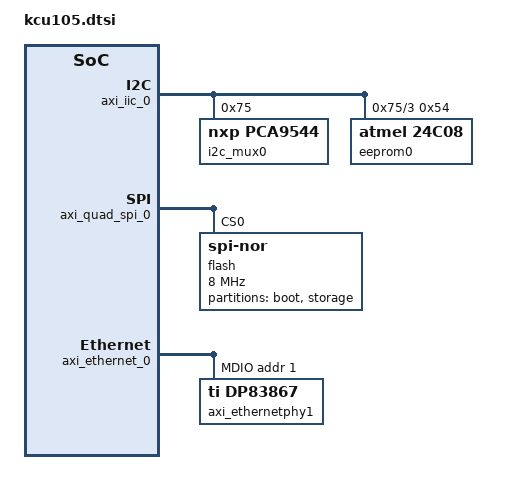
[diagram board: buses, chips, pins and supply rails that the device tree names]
// SPDX-License-Identifier: Apache-2.0
/*
 * (C) Copyright 2026, Advanced Micro Devices, Inc.
 *
 */

/ {
	aliases {
		eeprom-0 = &eeprom0;
		i2c-channel-0 = &ch1;
		i2c-channel-1 = &ch3;
	};
};

&axi_iic_0 {
	status = "okay";

	i2c_mux0: i2c-mux@75 {
		compatible = "nxp,pca9544", "ti,tca9544a";
		reg = <0x75>;
		#address-cells = <1>;
		#size-cells = <0>;

		ch1: i2c@1 {
			compatible = "ti,tca9544a-channel";
			#address-cells = <1>;
			#size-cells = <0>;
			reg = <1>;
		};

		ch3: i2c@3 {
			compatible = "ti,tca9544a-channel";
			#address-cells = <1>;
			#size-cells = <0>;
			reg = <3>;

			eeprom0: eeprom@54 {
				compatible = "atmel,24c08", "atmel,at24";
				reg = <0x54>;
				size = <1024>;
				pagesize = <16>;
				address-width = <8>;
				timeout = <5>;
			};
		};
	};
};

&axi_quad_spi_0 {
	status = "okay";

	flash@0 {
		compatible = "jedec,spi-nor";
		reg = <0>;
		spi-max-frequency = <8000000>;
		jedec-id = [20 bb 19]; /* n25q256 */
		size = <0x8000000>;
		has-dpd;
		t-enter-dpd = <10000>;
		t-exit-dpd = <35000>;

                partitions {
                        compatible = "fixed-partitions";
                        #address-cells = <1>;
                        #size-cells = <1>;

                        /* Boot partition: 1 MB */
                        boot_partition: partition@0 {
                                label = "boot";
                                reg = <0x0 0x100000>;
                        };

                        /* Storage partition: 127 MB */
                        storage_partition: partition@100000 {
                                label = "storage";
                                reg = <0x100000 0x7F00000>;
                        };
                };
	};
};

&axi_ethernet_0 {
	axi_ethernet_mdio: mdio {
		#address-cells = <1>;
		#size-cells = <0>;
		compatible = "xlnx,axi-ethernet-1.00.a-mdio";

		axi_ethernetphy1: phy@1 {
			device_type = "ethernet-phy";
			compatible = "ti,dp83867";
			ti,rx-internal-delay = <3>;
			ti,tx-internal-delay = <3>;
			ti,interface-type = "rgmii-id";
			reg = <1>;
		};
	};
};
